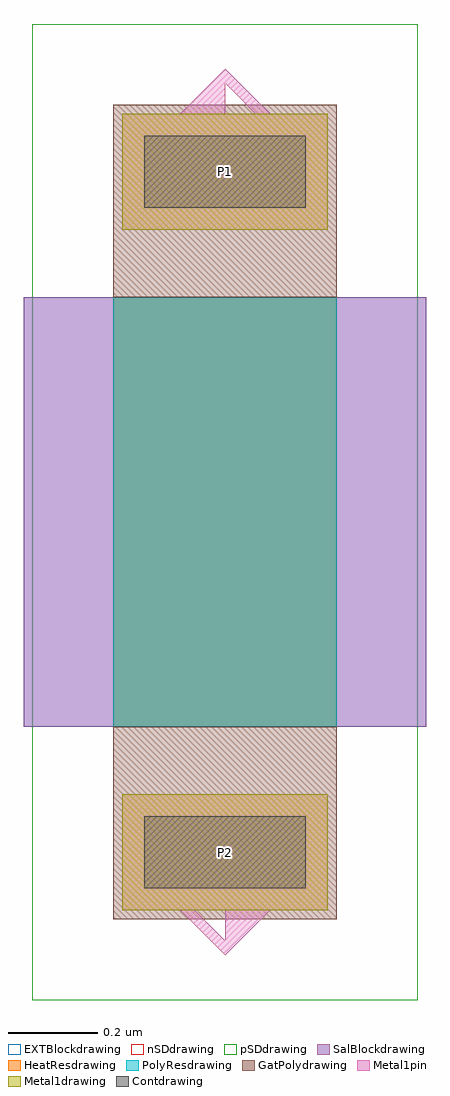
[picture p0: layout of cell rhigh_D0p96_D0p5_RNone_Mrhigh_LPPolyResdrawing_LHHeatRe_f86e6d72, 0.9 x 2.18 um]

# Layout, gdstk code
import gdstk
lib = gdstk.Library(unit=1e-6, precision=1e-09)
def R(c, l, rs):  # rectangles x0, y0, x1, y1
    for r in rs: c.add(gdstk.rectangle(r[:2], r[2:], *l))
def P(c, l, *ps):  # polygons
    for p in ps: c.add(gdstk.Polygon(p, *l))
GatPolydrawing = (5, 0)
Contdrawing = (6, 0)
nSDdrawing = (7, 0)
Metal1drawing = (8, 0)
Metal1pin = (8, 2)
pSDdrawing = (14, 0)
SalBlockdrawing = (28, 0)
HeatResdrawing = (52, 0)
EXTBlockdrawing = (111, 0)
PolyResdrawing = (128, 0)

rectangle_gdsfactorypcom = lib.new_cell('rectangle_gdsfactorypcomponentspshapesprectangle_S0p9_0_30eb1728')
R(rectangle_gdsfactorypcom, SalBlockdrawing, [(0,0,0.9,0.96)])

c_rectangle_gdsfactorypcom = lib.new_cell('rectangle_gdsfactorypcomponentspshapesprectangle_S0p9_0_70bec09f')
R(c_rectangle_gdsfactorypcom, EXTBlockdrawing, [(0,0,0.9,0.96)])

c_rectangle_gdsfactorypcom_ = lib.new_cell('rectangle_gdsfactorypcomponentspshapesprectangle_S0p86__4992bb38')
R(c_rectangle_gdsfactorypcom_, nSDdrawing, [(0,0,0.86,2.18)])

c_rectangle_gdsfactorypcom__ = lib.new_cell('rectangle_gdsfactorypcomponentspshapesprectangle_S0p86__3ae95b40')
R(c_rectangle_gdsfactorypcom__, pSDdrawing, [(0,0,0.86,2.18)])

c_rectangle_gdsfactorypcom___ = lib.new_cell('rectangle_gdsfactorypcomponentspshapesprectangle_S0p86__16bf438a')
R(c_rectangle_gdsfactorypcom___, EXTBlockdrawing, [(0,0,0.86,2.18)])

c_rectangle_gdsfactorypcom____ = lib.new_cell('rectangle_gdsfactorypcomponentspshapesprectangle_S0p46__c5e398a1')
R(c_rectangle_gdsfactorypcom____, Metal1drawing, [(0,0,0.46,0.26)])

c_rectangle_gdsfactorypcom_____ = lib.new_cell('rectangle_gdsfactorypcomponentspshapesprectangle_S0p46__0c3aa280')
R(c_rectangle_gdsfactorypcom_____, Metal1pin, [(0,0,0.46,0.26)])

c_rectangle_gdsfactorypcom______ = lib.new_cell('rectangle_gdsfactorypcomponentspshapesprectangle_S0p36__cc771b56')
R(c_rectangle_gdsfactorypcom______, Contdrawing, [(0,0,0.36,0.16)])

c_rectangle_gdsfactorypcom_______ = lib.new_cell('rectangle_gdsfactorypcomponentspshapesprectangle_S0p5_0_0861799f')
R(c_rectangle_gdsfactorypcom_______, GatPolydrawing, [(0,0,0.5,0.43)])

c_rectangle_gdsfactorypcom________ = lib.new_cell('rectangle_gdsfactorypcomponentspshapesprectangle_S0p5_0_e409e79b')
R(c_rectangle_gdsfactorypcom________, HeatResdrawing, [(0,0,0.5,0.96)])

c_rectangle_gdsfactorypcom_________ = lib.new_cell('rectangle_gdsfactorypcomponentspshapesprectangle_S0p5_0_2ac947e4')
R(c_rectangle_gdsfactorypcom_________, PolyResdrawing, [(0,0,0.5,0.96)])

rhigh_d0p96_d0p5_rnone_m = lib.new_cell('rhigh_D0p96_D0p5_RNone_Mrhigh_LPPolyResdrawing_LHHeatRe_f86e6d72')
P(rhigh_d0p96_d0p5_rnone_m, Metal1pin, [(0.25,-0.51),(0.043,-0.303),(0.077,-0.303),(0.25,-0.478),(0.25,-0.303),(0.043,-0.303),(0.02,-0.28),(0.48,-0.28)],
  [(0.02,1.24),(0.218,1.438),(0.25,1.438),(0.25,1.263),(0.423,1.263),(0.25,1.438),(0.218,1.438),(0.25,1.47),(0.48,1.24)])
rhigh_d0p96_d0p5_rnone_m.add(gdstk.Reference(rectangle_gdsfactorypcom, (-0.2,0)))
rhigh_d0p96_d0p5_rnone_m.add(gdstk.Reference(c_rectangle_gdsfactorypcom, (-0.2,0)))
rhigh_d0p96_d0p5_rnone_m.add(gdstk.Reference(c_rectangle_gdsfactorypcom_, (-0.18,-0.61)))
rhigh_d0p96_d0p5_rnone_m.add(gdstk.Reference(c_rectangle_gdsfactorypcom__, (-0.18,-0.61)))
rhigh_d0p96_d0p5_rnone_m.add(gdstk.Reference(c_rectangle_gdsfactorypcom___, (-0.18,-0.61)))
rhigh_d0p96_d0p5_rnone_m.add(gdstk.Reference(c_rectangle_gdsfactorypcom____, (0.02,-0.41)))
rhigh_d0p96_d0p5_rnone_m.add(gdstk.Reference(c_rectangle_gdsfactorypcom____, (0.02,1.11)))
rhigh_d0p96_d0p5_rnone_m.add(gdstk.Reference(c_rectangle_gdsfactorypcom_____, (0.02,-0.41)))
rhigh_d0p96_d0p5_rnone_m.add(gdstk.Reference(c_rectangle_gdsfactorypcom_____, (0.02,1.11)))
rhigh_d0p96_d0p5_rnone_m.add(gdstk.Reference(c_rectangle_gdsfactorypcom______, (0.07,-0.36)))
rhigh_d0p96_d0p5_rnone_m.add(gdstk.Reference(c_rectangle_gdsfactorypcom______, (0.07,1.16)))
rhigh_d0p96_d0p5_rnone_m.add(gdstk.Reference(c_rectangle_gdsfactorypcom_______, (0,-0.43)))
rhigh_d0p96_d0p5_rnone_m.add(gdstk.Reference(c_rectangle_gdsfactorypcom_______, (0,0.96)))
rhigh_d0p96_d0p5_rnone_m.add(gdstk.Reference(c_rectangle_gdsfactorypcom________, (0,0)))
rhigh_d0p96_d0p5_rnone_m.add(gdstk.Reference(c_rectangle_gdsfactorypcom_________, (0,0)))
rhigh_d0p96_d0p5_rnone_m.add(gdstk.Label('P2', (0.25,-0.28), layer=8, texttype=2))
rhigh_d0p96_d0p5_rnone_m.add(gdstk.Label('P1', (0.25,1.24), layer=8, texttype=2))

lib.write_gds('rhigh_D0p96_D0p5_RNone_Mrhigh_LPPolyResdrawing_LHHeatRe_f86e6d72.gds')
